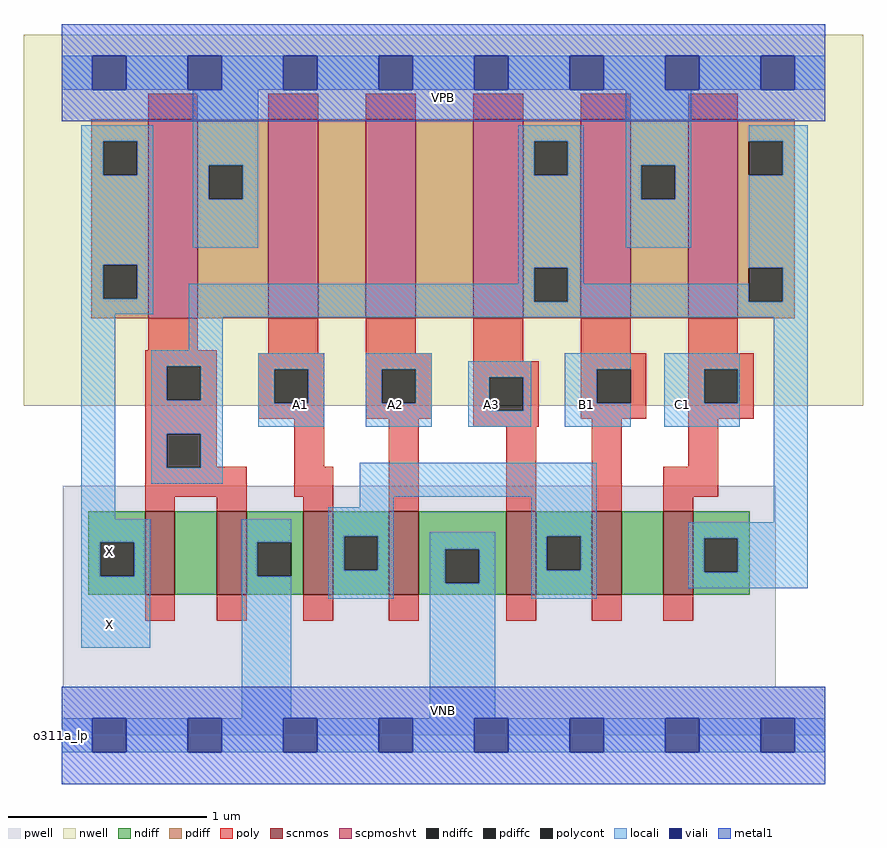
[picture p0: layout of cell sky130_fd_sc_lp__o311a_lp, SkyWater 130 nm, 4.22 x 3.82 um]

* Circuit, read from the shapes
.subckt sky130_fd_sc_lp__o311a_lp A1 A2 A3 B1 C1 VGND VNB VPB VPWR X
XM1 n1 n2 X VNB sky130_fd_pr__nfet_01v8 w=0.42 l=0.15
XM2 VGND n2 n1 VNB sky130_fd_pr__nfet_01v8 w=0.42 l=0.15
XM3 n3 A1 VGND VNB sky130_fd_pr__nfet_01v8 w=0.42 l=0.15
XM4 VGND A2 n3 VNB sky130_fd_pr__nfet_01v8 w=0.42 l=0.15
XM5 n3 A3 VGND VNB sky130_fd_pr__nfet_01v8 w=0.42 l=0.15
XM6 n4 B1 n3 VNB sky130_fd_pr__nfet_01v8 w=0.42 l=0.15
XM7 n2 C1 n4 VNB sky130_fd_pr__nfet_01v8 w=0.42 l=0.15
XM8 VPWR n2 X VPB sky130_fd_pr__pfet_01v8_hvt w=1 l=0.25
XM9 n5 A1 VPWR VPB sky130_fd_pr__pfet_01v8_hvt w=1 l=0.25
XM10 n6 A2 n5 VPB sky130_fd_pr__pfet_01v8_hvt w=1 l=0.25
XM11 n2 A3 n6 VPB sky130_fd_pr__pfet_01v8_hvt w=1 l=0.25
XM12 VPWR B1 n2 VPB sky130_fd_pr__pfet_01v8_hvt w=1 l=0.25
XM13 n2 C1 VPWR VPB sky130_fd_pr__pfet_01v8_hvt w=1 l=0.25
.ends

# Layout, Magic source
magic
tech sky130A
magscale 1 2
<< nwell >>
rect -38 331 806 704
<< pwell >>
rect 1 49 718 251
rect 0 0 768 49
<< scnmos >>
rect 84 141 114 225
rect 156 141 186 225
rect 243 141 273 225
rect 329 141 359 225
rect 447 141 477 225
rect 533 141 563 225
rect 605 141 635 225
<< scpmoshvt >>
rect 87 419 137 619
rect 208 419 258 619
rect 306 419 356 619
rect 414 419 464 619
rect 522 419 572 619
rect 630 419 680 619
<< ndiff >>
rect 27 194 84 225
rect 27 160 39 194
rect 73 160 84 194
rect 27 141 84 160
rect 114 141 156 225
rect 186 194 243 225
rect 186 160 197 194
rect 231 160 243 194
rect 186 141 243 160
rect 273 200 329 225
rect 273 166 284 200
rect 318 166 329 200
rect 273 141 329 166
rect 359 187 447 225
rect 359 153 386 187
rect 420 153 447 187
rect 359 141 447 153
rect 477 200 533 225
rect 477 166 488 200
rect 522 166 533 200
rect 477 141 533 166
rect 563 141 605 225
rect 635 198 692 225
rect 635 164 646 198
rect 680 164 692 198
rect 635 141 692 164
<< pdiff >>
rect 30 597 87 619
rect 30 563 42 597
rect 76 563 87 597
rect 30 473 87 563
rect 30 439 42 473
rect 76 439 87 473
rect 30 419 87 439
rect 137 573 208 619
rect 137 539 148 573
rect 182 539 208 573
rect 137 419 208 539
rect 258 419 306 619
rect 356 419 414 619
rect 464 597 522 619
rect 464 563 475 597
rect 509 563 522 597
rect 464 470 522 563
rect 464 436 475 470
rect 509 436 522 470
rect 464 419 522 436
rect 572 573 630 619
rect 572 539 583 573
rect 617 539 630 573
rect 572 419 630 539
rect 680 597 737 619
rect 680 563 691 597
rect 725 563 737 597
rect 680 470 737 563
rect 680 436 691 470
rect 725 436 737 470
rect 680 419 737 436
<< ndiffc >>
rect 39 160 73 194
rect 197 160 231 194
rect 284 166 318 200
rect 386 153 420 187
rect 488 166 522 200
rect 646 164 680 198
<< pdiffc >>
rect 42 563 76 597
rect 42 439 76 473
rect 148 539 182 573
rect 475 563 509 597
rect 475 436 509 470
rect 583 539 617 573
rect 691 563 725 597
rect 691 436 725 470
<< poly >>
rect 87 619 137 645
rect 208 619 258 645
rect 306 619 356 645
rect 414 619 464 645
rect 522 619 572 645
rect 630 619 680 645
rect 87 387 137 419
rect 84 371 156 387
rect 208 384 258 419
rect 306 384 356 419
rect 84 337 106 371
rect 140 337 156 371
rect 84 303 156 337
rect 198 368 264 384
rect 198 334 214 368
rect 248 334 264 368
rect 198 318 264 334
rect 306 368 372 384
rect 306 334 322 368
rect 356 334 372 368
rect 306 318 372 334
rect 414 376 464 419
rect 522 384 572 419
rect 630 384 680 419
rect 414 360 480 376
rect 414 326 430 360
rect 464 326 480 360
rect 84 269 106 303
rect 140 270 156 303
rect 234 270 264 318
rect 140 269 186 270
rect 84 240 186 269
rect 234 240 273 270
rect 84 225 114 240
rect 156 225 186 240
rect 243 225 273 240
rect 329 225 359 318
rect 414 310 480 326
rect 522 368 588 384
rect 522 334 538 368
rect 572 334 588 368
rect 522 318 588 334
rect 630 368 696 384
rect 630 334 646 368
rect 680 334 696 368
rect 630 318 696 334
rect 447 225 477 310
rect 533 225 563 318
rect 630 270 660 318
rect 605 240 660 270
rect 605 225 635 240
rect 84 115 114 141
rect 156 115 186 141
rect 243 115 273 141
rect 329 115 359 141
rect 447 115 477 141
rect 533 115 563 141
rect 605 115 635 141
<< polycont >>
rect 106 337 140 371
rect 214 334 248 368
rect 322 334 356 368
rect 430 326 464 360
rect 106 269 140 303
rect 538 334 572 368
rect 646 334 680 368
<< locali >>
rect 0 649 31 683
rect 65 649 127 683
rect 161 649 223 683
rect 257 649 319 683
rect 353 649 415 683
rect 449 649 511 683
rect 545 649 607 683
rect 641 649 703 683
rect 737 649 768 683
rect 20 597 92 613
rect 20 563 42 597
rect 76 563 92 597
rect 20 473 92 563
rect 132 573 198 649
rect 132 539 148 573
rect 182 539 198 573
rect 132 490 198 539
rect 459 597 525 613
rect 459 563 475 597
rect 509 563 525 597
rect 20 439 42 473
rect 76 439 92 473
rect 459 470 525 563
rect 567 573 633 649
rect 567 539 583 573
rect 617 539 633 573
rect 567 490 633 539
rect 691 597 750 613
rect 725 563 750 597
rect 459 454 475 470
rect 20 423 92 439
rect 128 436 475 454
rect 509 454 525 470
rect 691 470 750 563
rect 509 436 691 454
rect 725 436 750 470
rect 20 217 54 423
rect 128 420 750 436
rect 128 387 162 420
rect 90 371 162 387
rect 90 337 106 371
rect 140 337 162 371
rect 90 303 162 337
rect 198 368 264 384
rect 198 334 214 368
rect 248 334 264 368
rect 198 310 264 334
rect 306 368 372 384
rect 306 334 322 368
rect 356 334 372 368
rect 306 310 372 334
rect 409 360 472 376
rect 409 326 430 360
rect 464 326 472 360
rect 409 310 472 326
rect 506 368 572 384
rect 506 334 538 368
rect 506 310 572 334
rect 606 368 682 384
rect 606 334 646 368
rect 680 334 682 368
rect 606 310 682 334
rect 90 269 106 303
rect 140 269 162 303
rect 90 253 162 269
rect 300 240 538 274
rect 300 229 334 240
rect 20 194 89 217
rect 20 160 39 194
rect 73 160 89 194
rect 20 88 89 160
rect 181 194 231 217
rect 181 160 197 194
rect 181 17 231 160
rect 268 200 334 229
rect 268 166 284 200
rect 318 166 334 200
rect 268 137 334 166
rect 370 187 436 204
rect 370 153 386 187
rect 420 153 436 187
rect 370 17 436 153
rect 472 200 538 240
rect 716 214 750 420
rect 472 166 488 200
rect 522 166 538 200
rect 472 137 538 166
rect 630 198 750 214
rect 630 164 646 198
rect 680 164 750 198
rect 630 148 750 164
rect 0 -17 31 17
rect 65 -17 127 17
rect 161 -17 223 17
rect 257 -17 319 17
rect 353 -17 415 17
rect 449 -17 511 17
rect 545 -17 607 17
rect 641 -17 703 17
rect 737 -17 768 17
<< viali >>
rect 31 649 65 683
rect 127 649 161 683
rect 223 649 257 683
rect 319 649 353 683
rect 415 649 449 683
rect 511 649 545 683
rect 607 649 641 683
rect 703 649 737 683
rect 31 -17 65 17
rect 127 -17 161 17
rect 223 -17 257 17
rect 319 -17 353 17
rect 415 -17 449 17
rect 511 -17 545 17
rect 607 -17 641 17
rect 703 -17 737 17
<< metal1 >>
rect 0 683 768 715
rect 0 649 31 683
rect 65 649 127 683
rect 161 649 223 683
rect 257 649 319 683
rect 353 649 415 683
rect 449 649 511 683
rect 545 649 607 683
rect 641 649 703 683
rect 737 649 768 683
rect 0 617 768 649
rect 0 17 768 49
rect 0 -17 31 17
rect 65 -17 127 17
rect 161 -17 223 17
rect 257 -17 319 17
rect 353 -17 415 17
rect 449 -17 511 17
rect 545 -17 607 17
rect 641 -17 703 17
rect 737 -17 768 17
rect 0 -49 768 -17
<< labels >>
flabel pwell s 0 0 768 49 0 FreeSans 200 0 0 0 VNB
port 7 nsew ground bidirectional
flabel nwell s 0 617 768 666 0 FreeSans 200 0 0 0 VPB
port 8 nsew power bidirectional
rlabel comment s 0 0 0 0 4 o311a_lp
flabel metal1 s 0 617 768 666 0 FreeSans 340 0 0 0 VPWR
port 9 nsew power bidirectional
flabel metal1 s 0 0 768 49 0 FreeSans 340 0 0 0 VGND
port 6 nsew ground bidirectional
flabel locali s 607 316 641 350 0 FreeSans 340 0 0 0 C1
port 5 nsew signal input
flabel locali s 511 316 545 350 0 FreeSans 340 0 0 0 B1
port 4 nsew signal input
flabel locali s 415 316 449 350 0 FreeSans 340 0 0 0 A3
port 3 nsew signal input
flabel locali s 223 316 257 350 0 FreeSans 340 0 0 0 A1
port 1 nsew signal input
flabel locali s 319 316 353 350 0 FreeSans 340 0 0 0 A2
port 2 nsew signal input
flabel locali s 31 94 65 128 0 FreeSans 340 0 0 0 X
port 10 nsew signal output
flabel locali s 31 168 65 202 0 FreeSans 340 0 0 0 X
port 10 nsew signal output
<< properties >>
string LEFsite unit
string LEFclass CORE
string FIXED_BBOX 0 0 768 666
string GDS_FILE $PDKPATH/libs.ref/sky130_fd_sc_lp/gds/sky130_fd_sc_lp.gds
string LEFsymmetry X Y R90
string GDS_END 4398902
string GDS_START 4392534
<< end >>
